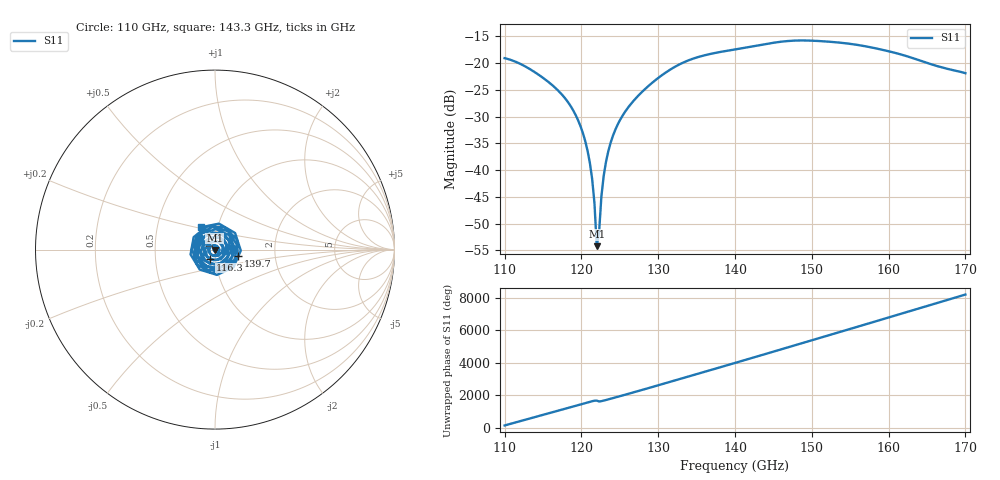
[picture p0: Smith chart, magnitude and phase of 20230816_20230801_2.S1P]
! C:\Users\Solidworker\Documents\VNA\mmiller\20230816\20230816_20230801_2.S1P
! Touchstone 1.1 file saved by VNA.EXE V1.65 (www.ke5fx.com/gpib/readme.htm)
! 8/16/2023 3:00:17 PM
!  Source: HP8510C.07.10: Mar 30  1995
!  Min freq: 1.100000E+011 Hz
!  Max freq: 1.700000E+011 Hz
!  Points: 201
!  Params: S11
# GHZ S MA R 50
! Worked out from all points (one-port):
!   201 points, 110 GHz to 170 GHz, reference 50 ohm
!   lowest |S11| = -54.2 dB at 122 GHz (marker M1), VSWR 1.00, Z = 49.9 - j0.152 ohm
!   |S11| at or under -10 dB: start of sweep to end of sweep
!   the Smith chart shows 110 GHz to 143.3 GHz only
!   S11 on the Smith chart (normalised r, x): 110 GHz: 0.83, +0.11; 116.3 GHz: 0.94, -0.10; 139.7 GHz: 1.29, -0.10; 143.3 GHz: 0.83, +0.21
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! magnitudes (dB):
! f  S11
! 110 GHz  -19.1
! 113 GHz  -20.9
! 116.3 GHz  -24.2
! 117.5 GHz  -25.9
! 118.7 GHz  -28.3
! 119.6 GHz  -30.8
! 120.2 GHz  -33.1
! 120.8 GHz  -36.4
! 121.4 GHz  -41.6
! 121.7 GHz  -46.2
! 122 GHz  -54.2
! 122.3 GHz  -51.6
! 122.6 GHz  -44.9
! 122.9 GHz  -41.1
! 123.2 GHz  -38.4
! 124.1 GHz  -33.6
! 125 GHz  -30.7
! 126.2 GHz  -28.1
! 128 GHz  -25.2
! 132.5 GHz  -20.4
! 135.5 GHz  -18.7
! 139.7 GHz  -17.5
! 140 GHz  -17.4
! 143.3 GHz  -16.6
! 147.5 GHz  -15.8
! 155 GHz  -16.4
! 162.5 GHz  -18.8
! 170 GHz  -21.9
